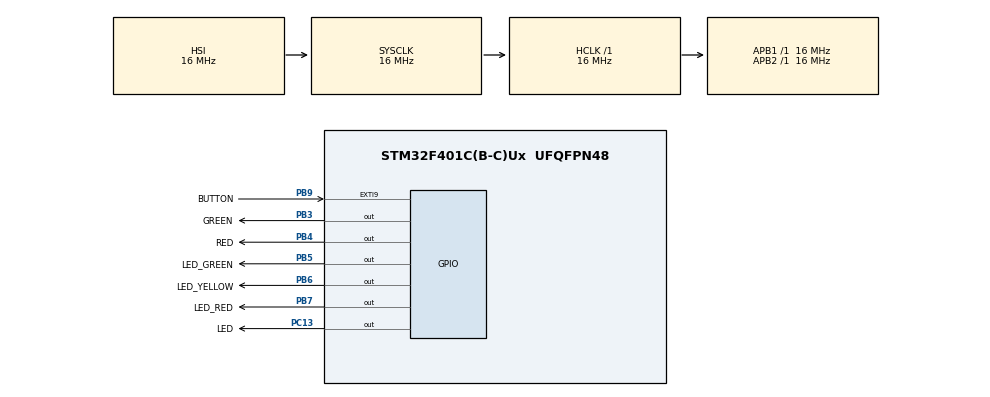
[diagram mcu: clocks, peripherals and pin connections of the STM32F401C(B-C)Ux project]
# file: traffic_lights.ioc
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Mcu.Family=STM32F4
Mcu.Name=STM32F401C(B-C)Ux
Mcu.Package=UFQFPN48
NVIC.EXTI9_5_IRQn=true\:0\:0\:false\:false\:true\:true\:true\:true
NVIC.PriorityGroup=NVIC_PRIORITYGROUP_4
PB3.GPIO_Label=GREEN
PB3.Signal=GPIO_Output
PB4.GPIO_Label=RED
PB4.Signal=GPIO_Output
PB5.GPIO_Label=LED_GREEN
PB5.Signal=GPIO_Output
PB6.GPIO_Label=LED_YELLOW
PB6.Signal=GPIO_Output
PB7.GPIO_Label=LED_RED
PB7.Signal=GPIO_Output
PB9.GPIO_Label=BUTTON
PB9.Signal=GPXTI9
PC13-ANTI_TAMP.GPIO_Label=LED
PC13-ANTI_TAMP.Signal=GPIO_Output
ProjectManager.HeapSize=0x200
ProjectManager.StackSize=0x400
ProjectManager.TargetToolchain=STM32CubeIDE
RCC.AHBFreq_Value=16000000
RCC.APB1Freq_Value=16000000
RCC.APB2Freq_Value=16000000
RCC.CortexFreq_Value=16000000
RCC.HSE_VALUE=25000000
RCC.HSI_VALUE=16000000
RCC.LSE_VALUE=32768
RCC.SYSCLKFreq_VALUE=16000000
RCC.VCOOutputFreq_Value=192000000
board=custom

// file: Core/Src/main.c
/* USER CODE BEGIN Header */
/**
  ******************************************************************************
  * @file           : main.c
  * @brief          : Main program body
  ******************************************************************************
  * @attention
  *
  * Copyright (c) 2022 STMicroelectronics.
  * All rights reserved.
  *
  * This software is licensed under terms that can be found in the LICENSE file
  * in the root directory of this software component.
  * If no LICENSE file comes with this software, it is provided AS-IS.
  *
  ******************************************************************************
  */
/* USER CODE END Header */
#include "main.h"

/* USER CODE BEGIN Includes */
#include "stdbool.h"
/* USER CODE END Includes */

void SystemClock_Config(void);
static void MX_GPIO_Init(void);

/* USER CODE BEGIN 0 */
bool f_check = false;
/* USER CODE END 0 */

int main(void)
{

  /* MCU Configuration--------------------------------------------------------*/

  /* Reset of all peripherals, Initializes the Flash interface and the Systick. */
  HAL_Init();

  /* Configure the system clock */
  SystemClock_Config();

  /* Initialize all configured peripherals */
  MX_GPIO_Init();

  /* Infinite loop */
  /* USER CODE BEGIN WHILE */
  while (1)
  {
	  HAL_GPIO_WritePin(GPIOB, LED_GREEN_Pin, GPIO_PIN_SET); //lights up green for cars
	  HAL_GPIO_WritePin(GPIOB, RED_Pin, GPIO_PIN_SET); //lights up red for pedestrians

	  //checking if the button was pressed
	  if (f_check){
		  HAL_Delay(2000); //timer until the end of the green for cars

		  HAL_GPIO_WritePin(GPIOB, LED_GREEN_Pin, GPIO_PIN_RESET); //turning off the green for cars

		  //blinking in yellow
		  HAL_GPIO_WritePin(GPIOB, LED_YELLOW_Pin, GPIO_PIN_SET);
		  HAL_Delay(500);
		  HAL_GPIO_WritePin(GPIOB, LED_YELLOW_Pin, GPIO_PIN_RESET);
		  HAL_Delay(500);

		  HAL_GPIO_WritePin(GPIOB, LED_YELLOW_Pin, GPIO_PIN_SET);
		  HAL_Delay(500);
		  HAL_GPIO_WritePin(GPIOB, LED_YELLOW_Pin, GPIO_PIN_RESET);
		  HAL_Delay(500);

		  HAL_GPIO_WritePin(GPIOB, LED_YELLOW_Pin, GPIO_PIN_SET);
		  HAL_Delay(500);
		  HAL_GPIO_WritePin(GPIOB, LED_YELLOW_Pin, GPIO_PIN_RESET);
		  HAL_Delay(500);

		  HAL_GPIO_WritePin(GPIOB, LED_RED_Pin, GPIO_PIN_SET); //lights up red for cars
		  HAL_GPIO_WritePin(GPIOB, RED_Pin, GPIO_PIN_RESET); //turning off the red for pedestrians
		  HAL_GPIO_WritePin(GPIOB, GREEN_Pin, GPIO_PIN_SET); //lights up green for pedestrians

		  HAL_Delay(2000); //timer

		  //blinking in yellow
		  HAL_GPIO_WritePin(GPIOB, LED_YELLOW_Pin, GPIO_PIN_SET);
		  HAL_Delay(500);
		  HAL_GPIO_WritePin(GPIOB, LED_YELLOW_Pin, GPIO_PIN_RESET);
		  HAL_Delay(500);

		  HAL_GPIO_WritePin(GPIOB, LED_YELLOW_Pin, GPIO_PIN_SET);
		  HAL_Delay(500);
		  HAL_GPIO_WritePin(GPIOB, LED_YELLOW_Pin, GPIO_PIN_RESET);
		  HAL_Delay(500);

		  HAL_GPIO_WritePin(GPIOB, LED_YELLOW_Pin, GPIO_PIN_SET);
		  HAL_Delay(500);
		  HAL_GPIO_WritePin(GPIOB, LED_YELLOW_Pin, GPIO_PIN_RESET);
		  HAL_Delay(500);

		  HAL_GPIO_WritePin(GPIOB, LED_RED_Pin, GPIO_PIN_RESET);//turning off the red for cars

		  HAL_GPIO_WritePin(GPIOB, RED_Pin, GPIO_PIN_SET); //turning off the red for pedestrians
		  HAL_GPIO_WritePin(GPIOB, GREEN_Pin, GPIO_PIN_RESET); //lights up green for pedestrians

		  f_check = false;
	  }

    /* USER CODE END WHILE */

  }
}

void SystemClock_Config(void)
{
  RCC_OscInitTypeDef RCC_OscInitStruct = {0};
  RCC_ClkInitTypeDef RCC_ClkInitStruct = {0};

  /** Configure the main internal regulator output voltage
  */
  __HAL_RCC_PWR_CLK_ENABLE();
  __HAL_PWR_VOLTAGESCALING_CONFIG(PWR_REGULATOR_VOLTAGE_SCALE2);

  /** Initializes the RCC Oscillators according to the specified parameters
  * in the RCC_OscInitTypeDef structure.
  */
  RCC_OscInitStruct.OscillatorType = RCC_OSCILLATORTYPE_HSI;
  RCC_OscInitStruct.HSIState = RCC_HSI_ON;
  RCC_OscInitStruct.HSICalibrationValue = RCC_HSICALIBRATION_DEFAULT;
  RCC_OscInitStruct.PLL.PLLState = RCC_PLL_NONE;
  if (HAL_RCC_OscConfig(&RCC_OscInitStruct) != HAL_OK)
  {
    Error_Handler();
  }

  /** Initializes the CPU, AHB and APB buses clocks
  */
  RCC_ClkInitStruct.ClockType = RCC_CLOCKTYPE_HCLK|RCC_CLOCKTYPE_SYSCLK
                              |RCC_CLOCKTYPE_PCLK1|RCC_CLOCKTYPE_PCLK2;
  RCC_ClkInitStruct.SYSCLKSource = RCC_SYSCLKSOURCE_HSI;
  RCC_ClkInitStruct.AHBCLKDivider = RCC_SYSCLK_DIV1;
  RCC_ClkInitStruct.APB1CLKDivider = RCC_HCLK_DIV1;
  RCC_ClkInitStruct.APB2CLKDivider = RCC_HCLK_DIV1;

  if (HAL_RCC_ClockConfig(&RCC_ClkInitStruct, FLASH_LATENCY_0) != HAL_OK)
  {
    Error_Handler();
  }
}

static void MX_GPIO_Init(void)
{
  GPIO_InitTypeDef GPIO_InitStruct = {0};

  /* GPIO Ports Clock Enable */
  __HAL_RCC_GPIOC_CLK_ENABLE();
  __HAL_RCC_GPIOB_CLK_ENABLE();

  /*Configure GPIO pin Output Level */
  HAL_GPIO_WritePin(LED_GPIO_Port, LED_Pin, GPIO_PIN_RESET);

  /*Configure GPIO pin Output Level */
  HAL_GPIO_WritePin(GPIOB, GREEN_Pin|RED_Pin|LED_GREEN_Pin|LED_YELLOW_Pin
                          |LED_RED_Pin, GPIO_PIN_RESET);

  /*Configure GPIO pin : LED_Pin */
  GPIO_InitStruct.Pin = LED_Pin;
  GPIO_InitStruct.Mode = GPIO_MODE_OUTPUT_PP;
  GPIO_InitStruct.Pull = GPIO_NOPULL;
  GPIO_InitStruct.Speed = GPIO_SPEED_FREQ_LOW;
  HAL_GPIO_Init(LED_GPIO_Port, &GPIO_InitStruct);

  /*Configure GPIO pins : GREEN_Pin RED_Pin LED_GREEN_Pin LED_YELLOW_Pin
                           LED_RED_Pin */
  GPIO_InitStruct.Pin = GREEN_Pin|RED_Pin|LED_GREEN_Pin|LED_YELLOW_Pin
                          |LED_RED_Pin;
  GPIO_InitStruct.Mode = GPIO_MODE_OUTPUT_PP;
  GPIO_InitStruct.Pull = GPIO_NOPULL;
  GPIO_InitStruct.Speed = GPIO_SPEED_FREQ_LOW;
  HAL_GPIO_Init(GPIOB, &GPIO_InitStruct);

  /*Configure GPIO pin : BUTTON_Pin */
  GPIO_InitStruct.Pin = BUTTON_Pin;
  GPIO_InitStruct.Mode = GPIO_MODE_IT_RISING;
  GPIO_InitStruct.Pull = GPIO_NOPULL;
  HAL_GPIO_Init(BUTTON_GPIO_Port, &GPIO_InitStruct);

  /* EXTI interrupt init*/
  HAL_NVIC_SetPriority(EXTI9_5_IRQn, 0, 0);
  HAL_NVIC_EnableIRQ(EXTI9_5_IRQn);

}

/* USER CODE BEGIN 4 */
void HAL_GPIO_EXTI_Callback(uint16_t GPIO_Pin){
	f_check = true;
}
/* USER CODE END 4 */

void Error_Handler(void)
{
  __disable_irq();
  while (1)
  {
  }
}
